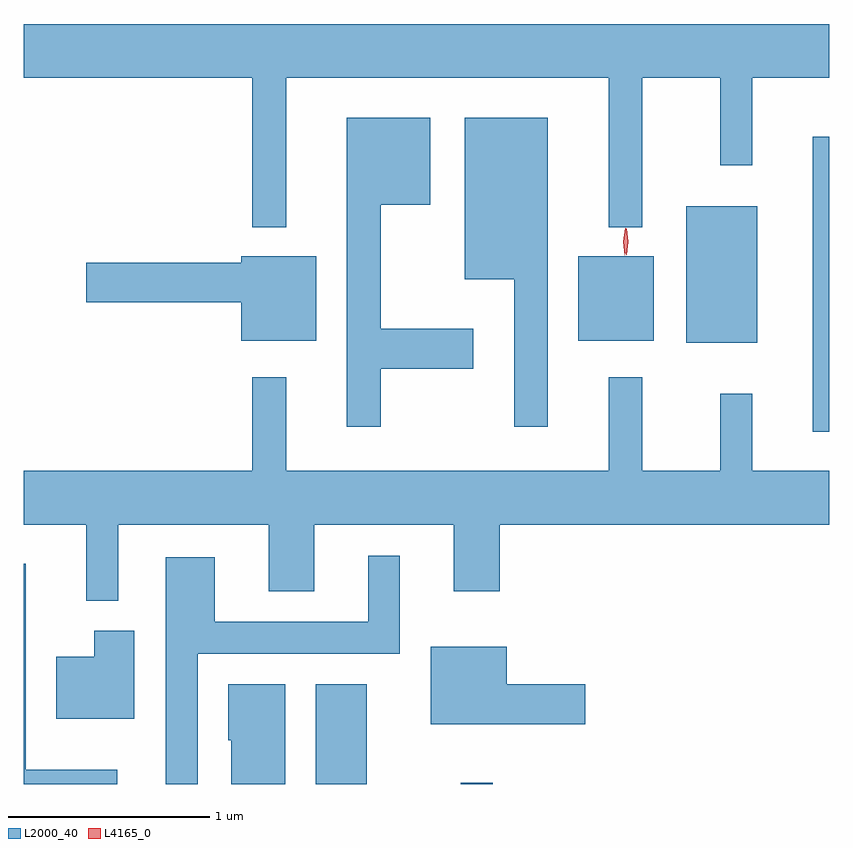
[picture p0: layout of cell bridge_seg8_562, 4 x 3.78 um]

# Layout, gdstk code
import gdstk
lib = gdstk.Library(unit=1e-6, precision=1e-09)
def R(c, l, rs):  # rectangles x0, y0, x1, y1
    for r in rs: c.add(gdstk.rectangle(r[:2], r[2:], *l))
def P(c, l, *ps):  # polygons
    for p in ps: c.add(gdstk.Polygon(p, *l))
L2000_40 = (2000, 40)
L4165_0 = (4165, 0)

bridge_seg8_562 = lib.new_cell('bridge_seg8_562')
R(bridge_seg8_562, L2000_40, [(546.446,1808.488,546.699,1808.984), (547.166,1808.488,547.324,1808.493), (548.916,1810.238,548.996,1811.704), (548.286,1810.681,548.639,1811.359), (547.751,1810.691,548.124,1811.109)])
P(bridge_seg8_562, L2000_40, [(546.299,1811.996),(547.901,1811.996),(547.901,1811.253),(548.069,1811.253),(548.069,1811.996),(548.456,1811.996),(548.456,1811.563),(548.614,1811.563),(548.614,1811.996),(548.996,1811.996),(548.996,1812.264),(544.996,1812.264),(544.996,1811.996),(546.131,1811.996),(546.131,1811.253),(546.299,1811.253)],
  [(546.769,1810.551),(547.229,1810.551),(547.229,1810.749),(546.769,1810.749),(546.769,1811.366),(547.014,1811.366),(547.014,1811.799),(546.601,1811.799),(546.601,1810.263),(546.769,1810.263)],
  [(547.599,1811.799),(547.186,1811.799),(547.186,1810.996),(547.431,1810.996),(547.431,1810.263),(547.599,1810.263)],
  [(546.449,1811.109),(546.076,1811.109),(546.076,1811.079),(545.306,1811.079),(545.306,1810.881),(546.076,1810.881),(546.076,1810.691),(546.449,1810.691)],
  [(545.464,1809.776),(546.211,1809.776),(546.211,1809.446),(546.439,1809.446),(546.439,1809.776),(547.131,1809.776),(547.131,1809.446),(547.359,1809.446),(547.359,1809.776),(548.996,1809.776),(548.996,1810.044),(548.614,1810.044),(548.614,1810.428),(548.456,1810.428),(548.456,1810.044),(548.069,1810.044),(548.069,1810.508),(547.901,1810.508),(547.901,1810.044),(546.299,1810.044),(546.299,1810.508),(546.131,1810.508),(546.131,1810.044),(544.996,1810.044),(544.996,1809.776),(545.306,1809.776),(545.306,1809.398),(545.464,1809.398)],
  [(545.859,1809.136),(546.864,1809.136),(546.864,1809.623),(546.706,1809.623),(546.706,1809.294),(545.944,1809.294),(545.944,1809.614),(545.701,1809.614),(545.701,1808.488),(545.859,1808.488)],
  [(545.459,1808.559),(545.004,1808.559),(545.004,1809.583),(544.996,1809.583),(544.996,1808.488),(545.459,1808.488)],
  [(545.544,1809.249),(545.346,1809.249),(545.346,1809.119),(545.156,1809.119),(545.156,1808.811),(545.544,1808.811)],
  [(547.784,1808.984),(547.394,1808.984),(547.394,1809.169),(547.016,1809.169),(547.016,1808.786),(547.784,1808.786)],
  [(546.294,1808.984),(546.011,1808.984),(546.011,1808.705),(546.026,1808.705),(546.026,1808.488),(546.294,1808.488)])
P(bridge_seg8_562, L4165_0, [(547.989,1811.118),(547.989,1811.118),(547.979,1811.183),(547.989,1811.247),(547.989,1811.247),(547.99,1811.247),(547.999,1811.183),(547.99,1811.118)],
  [(547.981,1811.114),(547.981,1811.114),(547.973,1811.182),(547.984,1811.25),(547.985,1811.25),(547.985,1811.25),(547.993,1811.182),(547.982,1811.114)])

lib.write_gds('bridge_seg8_562.gds')
